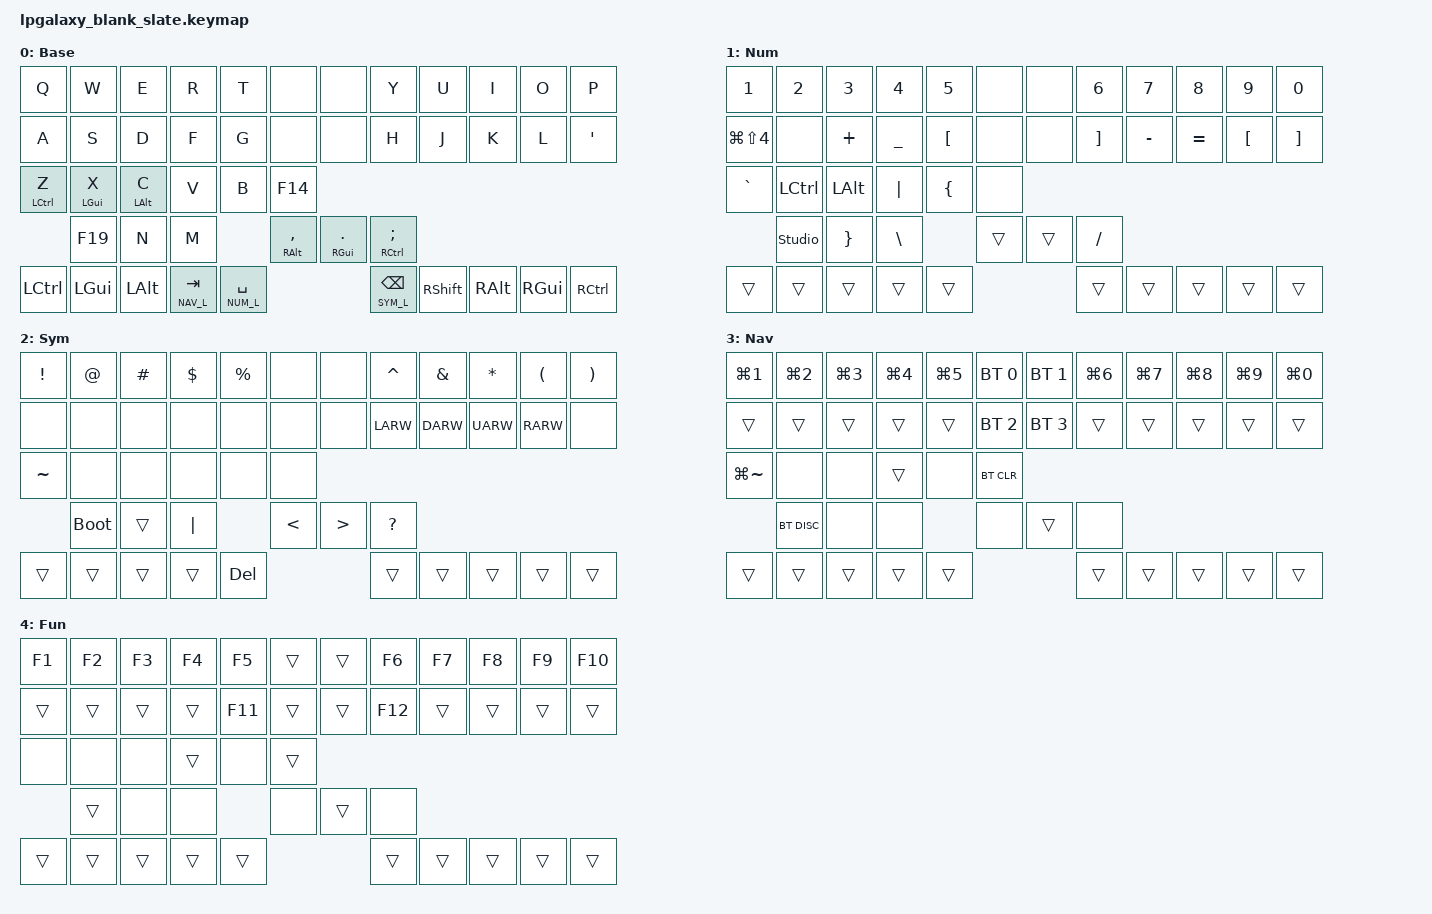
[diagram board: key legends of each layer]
/*
 * Copyright (c) 2022 Pete Johanson
 *
 * SPDX-License-Identifier: MIT
 */

#include <behaviors.dtsi>
#include <dt-bindings/zmk/keys.h>
#include <dt-bindings/zmk/bt.h>
#include <dt-bindings/zmk/outputs.h>

#define QWERTY_BASE 1

// #define TBLE_ORTHO   1
// #define TBLE_MIT     1
 #define TBLE_DUAL_2U 1

#define NUM_L 1
#define SYM_L 2
#define NAV_L 3
#define FUN_L 4


// Using layer taps on thumbs, having quick tap as well helps w/ repeating space/backspace
&lt { quick_tap_ms = <200>; };

#define BT(n) BT_SEL n

/ {
    chosen {
       zmk,matrix_transform =
#ifdef TBLE_DUAL_2U
                       &dual_2u_transform;
#elif defined(TBLE_MIT)
                       &mit_transform;
#else
                       &ortho_transform;
#endif
    };

    macros {
      ZMK_MACRO(thumbs_up,
		wait-ms = <1>;
		tap-ms = <5>;
                bindings = <&kp PLUS &kp COLON &kp PLUS &kp N1 &kp COLON &kp RET>;
		)
    };
    
    tap_dances {
    	shifty: shift_caps_word {
		compatible = "zmk,behavior-tap-dance";
		label = "TD_SHIFTY";
		#binding-cells = <0>;
		tapping-term-ms = <150>;
		bindings = <&kp LSHFT>, <&caps_word>;
	};
    };

    combos {
        compatible = "zmk,combos";
        combo_esc {
            timeout-ms = <50>;
            key-positions = <0 1>;
            bindings = <&kp ESC>;
        };
        combo_enter {
            timeout-ms = <50>;
            key-positions = <21 22>;
            bindings = <&kp RET>;
            layers = <0>;
        };
    };

    behaviors {
        brm: bottom_row_mods {
            compatible = "zmk,behavior-hold-tap";
            #binding-cells = <2>;
            tapping-term-ms = <200>;
            quick-tap-ms = <0>;
            flavor = "balanced";
            require-prior-idle-ms = <100>;
            bindings = <&kp>, <&kp>;
        };
    };

// Conditional layer only when we have less thumb keys
#ifdef TBLE_DUAL_2U
    cond_layers {
        compatible = "zmk,conditional-layers";
	      tri {
	          if-layers = <NUM_L SYM_L>;
	          then-layer = <FUN_L>;
            };
    };
#endif

    keymap {
        compatible = "zmk,keymap";

        base_layer {
            label = "Base";
            bindings = <
#ifdef QWERTY_BASE
  &kp Q      &kp W      &kp E       &kp R          &kp T   &none &none  &kp Y            &kp U          &kp I       &kp O      &kp P
  &kp A      &kp S      &kp D       &kp F          &kp G   &none &none  &kp H            &kp J          &kp K       &kp L      &kp QUOT
  &brm LCTL Z &brm LGUI X &brm LALT C  &kp V          &kp B   &kp F14 &kp F19   &kp N        &kp M          &brm RALT COMMA   &brm RGUI DOT    &brm RCTL SEMI
#else
 &kp ESC    &kp Q      &kp W      &kp F       &kp P          &kp B          &kp J            &kp L          &kp U       &kp Y      &kp QUOT      &kp BKSP
 &kp TAB    &kp A      &kp R      &kp S       &kp T          &kp G          &kp M            &kp N          &kp E       &kp I      &kp O         &kp QUOT
 &kp LSHFT  &kp Z      &kp X      &kp C       &kp D          &kp V          &kp K            &kp H          &kp COMMA   &kp DOT    &kp SEMI      &kp RET
#endif
#ifdef TBLE_DUAL_2U
 &kp LCTL  &kp LGUI   &kp LALT   &lt NAV_L TAB  &lt NUM_L SPACE  &lt SYM_L BKSP   &kp RSHFT   &kp RALT   &kp RGUI   &kp RCTL
#elif defined(TBLE_MIT)
 &kp LGUI    &kp LCTL   &kp LALT   &lt NAV_L TAB &lt NUM_L SPACE &kp SPACE  &lt SYM_L BKSP &kp RSHFT &kp RALT &kp RCTL &kp RGUI
#else
 &kp LCTRL  &mo SYM_L   &kp LGUI  &kp LALT    &mo NAV_L      &kp SPACE      &kp RET          &mo NUM_L      &kp LEFT    &kp UP     &kp DOWN      &kp RIGHT
#endif
            >;
        };

        nav_layer {
            label = "Num";
            bindings = <
&kp N1      &kp N2     &kp N3     &kp N4     &kp N5     &none       &none    &kp N6      &kp N7      &kp N8      &kp N9      &kp N0
&kp LG(LS(4)) &none    &kp PLUS   &kp UNDER  &kp LBKT   &none       &none    &kp RBKT    &kp MINUS   &kp EQUAL   &kp LBKT    &kp RBKT
&kp GRAVE   &kp LCTL   &kp LALT   &kp PIPE   &kp LBRC   &none
        &studio_unlock    &kp RBRC    &kp BSLH    &trans      &trans      &kp SLASH
#ifdef TBLE_DUAL_2U
&trans  &trans        &trans     &trans              &trans                    &trans       &trans         &trans &trans &trans
#elif defined(TBLE_MIT)
&trans  &trans       &trans     &trans      &trans           &none        &trans        &trans      &trans &trans &trans
#else
&trans  &trans        &trans     &trans      &trans          &trans       &trans    &trans  &trans         &trans &trans &trans
#endif
            >;
        };

        num_layer {
            label = "Sym";
            bindings = <
&kp EXCL   &kp AT     &kp HASH    &kp DLLR     &kp PRCNT  &none        &none      &kp CARET &kp AMPS     &kp STAR     &kp LPAR   &kp RPAR
&none      &none      &none      &none       &none        &none        &none      &kp LARW  &kp DARW     &kp UARW      &kp RARW  &none
&kp TILDE  &none      &none      &none       &none        &none        &bootloader &trans    &kp PIPE     &kp LT       &kp GT     &kp QMARK
#ifdef TBLE_DUAL_2U
&trans  &trans       &trans     &trans          &kp DEL               &trans            &trans         &trans &trans &trans
#elif defined(TBLE_MIT)
&trans &trans        &trans     &trans      &trans                &trans             &trans      &trans   &trans &trans &trans
#else
&trans  &trans       &trans     &kp N0      &trans    &none         &none     &kp ESC        &kp DEL      &trans &trans &trans
#endif
            >;
        };

        sym_layer {
            label = "Nav";
            bindings = <
&kp LG(N1)  &kp LG(N2)  &kp LG(N3)  &kp LG(N4)   &kp LG(N5)  &bt BT_SEL 0 &bt BT_SEL 1 &kp LG(N6)     &kp LG(N7)   &kp LG(N8)  &kp LG(N9)  &kp LG(N0)
&trans     &trans     &trans     &trans      &trans          &bt BT_SEL 2 &bt BT_SEL 3 &trans         &trans     &trans      &trans     &trans
&kp LG(TILDE) &none   &none      &trans      &none           &bt BT_CLR   &bt BT_DISC  &none          &none       &none      &trans     &none
#ifdef TBLE_DUAL_2U
&trans &trans   &trans     &trans          &trans                    &trans       &trans         &trans &trans &trans
#elif defined(TBLE_MIT)
&trans  &trans        &trans     &trans      &trans                &trans             &trans      &trans   &trans &trans &trans
#else
&trans &trans        &trans     &kp RPAR        &trans          &trans       &trans    &trans  &trans         &trans &trans &trans
#endif
            >;
        };

        fun_layer {
            label = "Fun";
            bindings = <
&kp F1   &kp F2  &kp F3  &kp F4   &kp F5  &trans &trans &kp F6     &kp F7   &kp F8  &kp F9  &kp F10
&trans   &trans  &trans  &trans   &kp F11 &trans &trans &kp F12    &trans   &trans  &trans  &trans
&none    &none   &none   &trans   &none   &trans &trans   &none    &none    &none   &trans  &none
#ifdef TBLE_DUAL_2U
&trans &trans   &trans     &trans          &trans                    &trans       &trans         &trans &trans &trans
#elif defined(TBLE_MIT)
&trans  &trans        &trans     &trans      &trans                &trans             &trans      &trans   &trans &trans &trans
#else
&trans &trans        &trans     &kp RPAR        &trans          &trans       &trans    &trans  &trans         &trans &trans &trans
#endif
            >;
        };



    };
};

